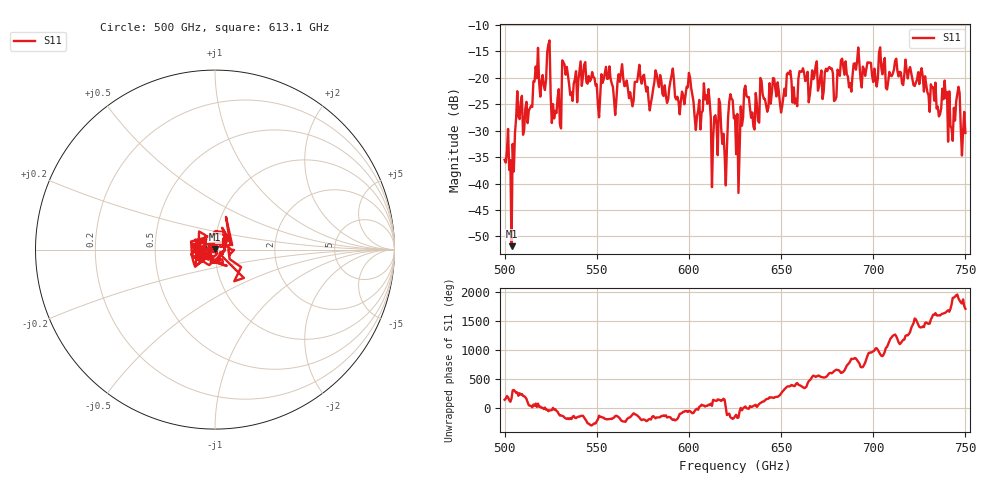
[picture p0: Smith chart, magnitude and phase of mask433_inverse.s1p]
!Created with skrf (http://scikit-rf.org).
# GHz S MA R 50.0
!freq magS11 angS11
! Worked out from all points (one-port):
!   401 points, 500 GHz to 750 GHz, reference 50 ohm
!   lowest |S11| = -51.8 dB at 503.8 GHz (marker M1), VSWR 1.01, Z = 49.8 + j0.0933 ohm
!   |S11| at or under -10 dB: start of sweep to end of sweep
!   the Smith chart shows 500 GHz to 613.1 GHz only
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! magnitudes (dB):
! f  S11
! 500 GHz  -35.5
! 503.8 GHz  -51.8
! 507.5 GHz  -27.3
! 513.8 GHz  -25.8
! 516.9 GHz  -17.9
! 523.8 GHz  -13.7
! 526.9 GHz  -27.7
! 531.2 GHz  -16.7
! 532.5 GHz  -17.5
! 550.6 GHz  -25.2
! 562.5 GHz  -20.7
! 593.8 GHz  -23.6
! 609.4 GHz  -23.3
! 619.4 GHz  -34.5
! 622.5 GHz  -23.1
! 625 GHz  -27.1
! 626.2 GHz  -26.8
! 631.2 GHz  -23.5
! 634.4 GHz  -26.6
! 640 GHz  -23.1
! 656.2 GHz  -24.7
! 687.5 GHz  -21.0
! 718.8 GHz  -20.1
! 735.6 GHz  -27.3
! 738.8 GHz  -20.5
! 741.9 GHz  -29.1
! 745.6 GHz  -23.1
! 750 GHz  -30.4
